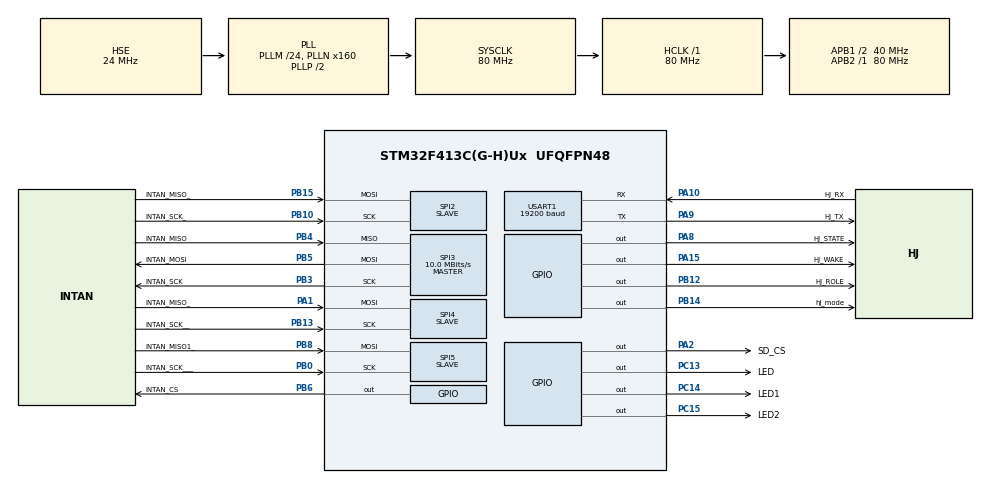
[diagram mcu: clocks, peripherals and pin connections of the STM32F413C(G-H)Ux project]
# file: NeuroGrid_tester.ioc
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Dma.Request0=SPI3_RX
Dma.Request1=TIM4_UP
Dma.Request2=TIM1_UP
Dma.Request3=TIM4_CH3
Dma.Request4=TIM4_CH2
Dma.SPI3_RX.0.Direction=DMA_PERIPH_TO_MEMORY
Dma.SPI3_RX.0.FIFOMode=DMA_FIFOMODE_DISABLE
Dma.SPI3_RX.0.Instance=DMA1_Stream0
Dma.SPI3_RX.0.MemDataAlignment=DMA_MDATAALIGN_HALFWORD
Dma.SPI3_RX.0.MemInc=DMA_MINC_ENABLE
Dma.SPI3_RX.0.Mode=DMA_CIRCULAR
Dma.SPI3_RX.0.PeriphDataAlignment=DMA_PDATAALIGN_HALFWORD
Dma.SPI3_RX.0.PeriphInc=DMA_PINC_DISABLE
Dma.SPI3_RX.0.Priority=DMA_PRIORITY_HIGH
Dma.TIM1_UP.2.Direction=DMA_MEMORY_TO_PERIPH
Dma.TIM1_UP.2.FIFOMode=DMA_FIFOMODE_ENABLE
Dma.TIM1_UP.2.FIFOThreshold=DMA_FIFO_THRESHOLD_1QUARTERFULL
Dma.TIM1_UP.2.Instance=DMA2_Stream5
Dma.TIM1_UP.2.MemBurst=DMA_MBURST_SINGLE
Dma.TIM1_UP.2.MemDataAlignment=DMA_MDATAALIGN_WORD
Dma.TIM1_UP.2.MemInc=DMA_MINC_ENABLE
Dma.TIM1_UP.2.Mode=DMA_NORMAL
Dma.TIM1_UP.2.PeriphBurst=DMA_PBURST_SINGLE
Dma.TIM1_UP.2.PeriphDataAlignment=DMA_PDATAALIGN_BYTE
Dma.TIM1_UP.2.PeriphInc=DMA_PINC_DISABLE
Dma.TIM1_UP.2.Priority=DMA_PRIORITY_VERY_HIGH
Dma.TIM4_CH2.4.Direction=DMA_PERIPH_TO_MEMORY
Dma.TIM4_CH2.4.FIFOMode=DMA_FIFOMODE_DISABLE
Dma.TIM4_CH2.4.Instance=DMA1_Stream3
Dma.TIM4_CH2.4.MemDataAlignment=DMA_MDATAALIGN_HALFWORD
Dma.TIM4_CH2.4.MemInc=DMA_MINC_ENABLE
Dma.TIM4_CH2.4.Mode=DMA_NORMAL
Dma.TIM4_CH2.4.PeriphDataAlignment=DMA_PDATAALIGN_HALFWORD
Dma.TIM4_CH2.4.PeriphInc=DMA_PINC_DISABLE
Dma.TIM4_CH2.4.Priority=DMA_PRIORITY_LOW
Dma.TIM4_CH3.3.Direction=DMA_MEMORY_TO_PERIPH
Dma.TIM4_CH3.3.FIFOMode=DMA_FIFOMODE_ENABLE
Dma.TIM4_CH3.3.FIFOThreshold=DMA_FIFO_THRESHOLD_HALFFULL
Dma.TIM4_CH3.3.Instance=DMA1_Stream7
Dma.TIM4_CH3.3.MemBurst=DMA_MBURST_SINGLE
Dma.TIM4_CH3.3.MemDataAlignment=DMA_MDATAALIGN_WORD
Dma.TIM4_CH3.3.MemInc=DMA_MINC_ENABLE
Dma.TIM4_CH3.3.Mode=DMA_CIRCULAR
Dma.TIM4_CH3.3.PeriphBurst=DMA_PBURST_SINGLE
Dma.TIM4_CH3.3.PeriphDataAlignment=DMA_PDATAALIGN_HALFWORD
Dma.TIM4_CH3.3.PeriphInc=DMA_PINC_DISABLE
Dma.TIM4_CH3.3.Priority=DMA_PRIORITY_VERY_HIGH
Dma.TIM4_UP.1.Direction=DMA_MEMORY_TO_PERIPH
Dma.TIM4_UP.1.FIFOMode=DMA_FIFOMODE_ENABLE
Dma.TIM4_UP.1.FIFOThreshold=DMA_FIFO_THRESHOLD_HALFFULL
Dma.TIM4_UP.1.Instance=DMA1_Stream6
Dma.TIM4_UP.1.MemBurst=DMA_MBURST_SINGLE
Dma.TIM4_UP.1.MemDataAlignment=DMA_MDATAALIGN_WORD
Dma.TIM4_UP.1.MemInc=DMA_MINC_ENABLE
Dma.TIM4_UP.1.Mode=DMA_CIRCULAR
Dma.TIM4_UP.1.PeriphBurst=DMA_PBURST_SINGLE
Dma.TIM4_UP.1.PeriphDataAlignment=DMA_PDATAALIGN_HALFWORD
Dma.TIM4_UP.1.PeriphInc=DMA_PINC_DISABLE
Dma.TIM4_UP.1.Priority=DMA_PRIORITY_VERY_HIGH
Mcu.Family=STM32F4
Mcu.Name=STM32F413C(G-H)Ux
Mcu.Package=UFQFPN48
NVIC.DMA1_Stream0_IRQn=true\:4\:0\:true\:false\:true\:false\:false
NVIC.DMA1_Stream3_IRQn=true\:0\:0\:false\:false\:true\:false\:false
NVIC.DMA1_Stream6_IRQn=true\:6\:0\:true\:false\:true\:false\:false
NVIC.DMA1_Stream7_IRQn=true\:0\:0\:false\:false\:true\:false\:false
NVIC.DMA2_Stream5_IRQn=true\:6\:0\:true\:false\:true\:false\:false
NVIC.PriorityGroup=NVIC_PRIORITYGROUP_4
NVIC.TIM1_TRG_COM_TIM11_IRQn=true\:3\:0\:true\:false\:true\:true\:false
NVIC.TIM1_UP_TIM10_IRQn=true\:2\:0\:true\:false\:true\:true\:false
NVIC.TIM3_IRQn=true\:0\:0\:false\:false\:true\:true\:false
NVIC.TIM4_IRQn=true\:1\:0\:true\:false\:true\:true\:false
NVIC.TIM8_TRG_COM_TIM14_IRQn=true\:0\:0\:false\:false\:true\:true\:false
PA1.GPIO_Label=INTAN_MISO_
PA1.Mode=RX_Only_Simplex_Unidirect_Slave
PA1.Signal=SPI4_MOSI
PA10.GPIO_Label=HJ_RX
PA10.Mode=Asynchronous
PA10.Signal=USART1_RX
PA13.Mode=Serial_Wire
PA13.Signal=SYS_JTMS-SWDIO
PA14.Mode=Serial_Wire
PA14.Signal=SYS_JTCK-SWCLK
PA15.GPIO_Label=HJ_WAKE
PA15.Signal=GPIO_Output
PA2.GPIO_Label=SD_CS
PA2.GPIO_PuPd=GPIO_PULLUP
PA2.GPIO_Speed=GPIO_SPEED_FREQ_VERY_HIGH
PA2.Signal=GPIO_Output
PA4.GPIO_Label=DAC1
PA4.Signal=COMP_DAC1_group
PA8.GPIO_Label=HJ_STATE
PA8.Signal=GPIO_Output
PA9.GPIO_Label=HJ_TX
PA9.Mode=Asynchronous
PA9.Signal=USART1_TX
PB0.GPIO_Label=INTAN_SCK___
PB0.Mode=RX_Only_Simplex_Unidirect_Slave
PB0.Signal=SPI5_SCK
PB10.GPIO_Label=INTAN_SCK_
PB10.Mode=RX_Only_Simplex_Unidirect_Slave
PB10.Signal=SPI2_SCK
PB12.GPIO_Label=HJ_ROLE
PB12.Signal=GPIO_Output
PB13.GPIO_Label=INTAN_SCK__
PB13.Mode=RX_Only_Simplex_Unidirect_Slave
PB13.Signal=SPI4_SCK
PB14.GPIO_Label=hj_mode
PB14.Signal=GPIO_Output
PB15.GPIO_Label=INTAN_MISO_
PB15.Mode=RX_Only_Simplex_Unidirect_Slave
PB15.Signal=SPI2_MOSI
PB3.GPIO_Label=INTAN_SCK
PB3.GPIO_Mode=GPIO_MODE_AF_PP
PB3.GPIO_PuPd=GPIO_NOPULL
PB3.GPIO_Speed=GPIO_SPEED_FREQ_HIGH
PB3.Mode=Full_Duplex_Master
PB3.Signal=SPI3_SCK
PB4.GPIO_Label=INTAN_MISO
PB4.GPIO_Mode=GPIO_MODE_AF_PP
PB4.GPIO_PuPd=GPIO_NOPULL
PB4.GPIO_Speed=GPIO_SPEED_FREQ_HIGH
PB4.Mode=Full_Duplex_Master
PB4.Signal=SPI3_MISO
PB5.GPIO_Label=INTAN_MOSI
PB5.GPIO_Mode=GPIO_MODE_AF_PP
PB5.GPIO_PuPd=GPIO_NOPULL
PB5.GPIO_Speed=GPIO_SPEED_FREQ_HIGH
PB5.Mode=Full_Duplex_Master
PB5.Signal=SPI3_MOSI
PB6.GPIO_Label=INTAN_CS
PB6.Signal=GPIO_Output
PB8.GPIO_Label=INTAN_MISO1_
PB8.Mode=RX_Only_Simplex_Unidirect_Slave
PB8.Signal=SPI5_MOSI
PC13.GPIO_Label=LED
PC13.GPIO_ModeDefaultOutputPP=GPIO_MODE_OUTPUT_PP
PC13.GPIO_PuPd=GPIO_NOPULL
PC13.GPIO_Speed=GPIO_SPEED_FREQ_LOW
PC13.PinState=GPIO_PIN_RESET
PC13.Signal=GPIO_Output
PC14-OSC32_IN.GPIO_Label=LED1
PC14-OSC32_IN.Signal=GPIO_Output
PC15-OSC32_OUT.GPIO_Label=LED2
PC15-OSC32_OUT.Signal=GPIO_Output
PH0\ -\ OSC_IN.Mode=HSE-External-Oscillator
PH0\ -\ OSC_IN.Signal=RCC_OSC_IN
PH1\ -\ OSC_OUT.Mode=HSE-External-Oscillator
PH1\ -\ OSC_OUT.Signal=RCC_OSC_OUT
ProjectManager.HeapSize=0x400
ProjectManager.StackSize=0x400
ProjectManager.TargetToolchain=MDK-ARM V5
RCC.48MHZClocksFreq_Value=48000000
RCC.AHBFreq_Value=80000000
RCC.APB1CLKDivider=RCC_HCLK_DIV2
RCC.APB1Freq_Value=40000000
RCC.APB1TimFreq_Value=80000000
RCC.APB2Freq_Value=80000000
RCC.APB2TimFreq_Value=80000000
RCC.CortexFreq_Value=80000000
RCC.HCLKFreq_Value=80000000
RCC.HSE_VALUE=24000000
RCC.HSI_VALUE=16000000
RCC.LSE_VALUE=32768
RCC.PLLM=24
RCC.PLLN=160
RCC.PLLQ=4
RCC.PLLSourceVirtual=RCC_PLLSOURCE_HSE
RCC.PREFETCH_ENABLE=0
RCC.SYSCLKFreq_VALUE=80000000
RCC.SYSCLKSource=RCC_SYSCLKSOURCE_PLLCLK
RCC.USBFreq_Value=40000000
RCC.VCOOutputFreq_Value=160000000
RCC.VDD_VALUE=3
SH.COMP_DAC1_group.0=DAC_OUT1
SPI2.CLKPhase=SPI_PHASE_2EDGE
SPI2.DataSize=SPI_DATASIZE_16BIT
SPI2.Direction=SPI_DIRECTION_2LINES_RXONLY
SPI2.Mode=SPI_MODE_SLAVE
SPI2.VirtualType=VM_SLAVE
SPI3.BaudRatePrescaler=SPI_BAUDRATEPRESCALER_4
SPI3.CLKPhase=SPI_PHASE_1EDGE
SPI3.CLKPolarity=SPI_POLARITY_LOW
SPI3.CalculateBaudRate=10.0 MBits/s
SPI3.DataSize=SPI_DATASIZE_16BIT
SPI3.Direction=SPI_DIRECTION_2LINES
SPI3.Mode=SPI_MODE_MASTER
SPI3.VirtualType=VM_MASTER
SPI4.CLKPhase=SPI_PHASE_1EDGE
SPI4.CLKPolarity=SPI_POLARITY_LOW
SPI4.DataSize=SPI_DATASIZE_16BIT
SPI4.Direction=SPI_DIRECTION_2LINES_RXONLY
SPI4.Mode=SPI_MODE_SLAVE
SPI4.VirtualType=VM_SLAVE
SPI5.CLKPhase=SPI_PHASE_2EDGE
SPI5.DataSize=SPI_DATASIZE_16BIT
SPI5.Direction=SPI_DIRECTION_2LINES_RXONLY
SPI5.Mode=SPI_MODE_SLAVE
SPI5.VirtualType=VM_SLAVE
TIM1.Period=20
TIM1.RepetitionCounter=0
TIM1.TIM_MasterOutputTrigger=TIM_TRGO_UPDATE
TIM1.TIM_MasterSlaveMode=TIM_MASTERSLAVEMODE_ENABLE
TIM14.AutoReloadPreload=TIM_AUTORELOAD_PRELOAD_ENABLE
TIM14.Period=3999
TIM3.Channel-PWM\ Generation1\ No\ Output=TIM_CHANNEL_1
TIM3.OCMode_PWM-PWM\ Generation1\ No\ Output=TIM_OCMODE_PWM2
TIM3.OCPolarity_1=TIM_OCPOLARITY_HIGH
TIM3.Period=4799
TIM3.Prescaler=2000
TIM3.Pulse-PWM\ Generation1\ No\ Output=1000
TIM3.TIM_MasterOutputTrigger=TIM_TRGO_OC1REF
TIM3.TIM_MasterSlaveMode=TIM_MASTERSLAVEMODE_ENABLE
TIM4.Channel-PWM\ Generation2\ No\ Output=TIM_CHANNEL_2
TIM4.Channel-PWM\ Generation3\ No\ Output=TIM_CHANNEL_3
TIM4.OCMode_PWM-PWM\ Generation2\ No\ Output=TIM_OCMODE_PWM2
TIM4.OCMode_PWM-PWM\ Generation3\ No\ Output=TIM_OCMODE_PWM2
TIM4.OCPolarity_2=TIM_OCPOLARITY_LOW
TIM4.OCPolarity_3=TIM_OCPOLARITY_LOW
TIM4.Period=149
TIM4.Pulse-PWM\ Generation2\ No\ Output=80
TIM4.Pulse-PWM\ Generation3\ No\ Output=8
TIM4.TIM_MasterOutputTrigger=TIM_TRGO_OC2REF
TIM4.TIM_MasterSlaveMode=TIM_MASTERSLAVEMODE_ENABLE
USART1.BaudRate=19200
USART1.VirtualMode=VM_ASYNC
VP_TIM14_VS_ClockSourceINT.Mode=Enable_Timer
VP_TIM1_VS_ClockSourceITR.Mode=TriggerSource_ITR2
VP_TIM1_VS_ControllerModeGated.Mode=Gated Mode
VP_TIM3_VS_no_output1.Mode=PWM Generation1 No Output
VP_TIM4_VS_no_output2.Mode=PWM Generation2 No Output
VP_TIM4_VS_no_output3.Mode=PWM Generation3 No Output
board=custom

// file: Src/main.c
/* USER CODE BEGIN Header */
/**
  ******************************************************************************
  * @file           : main.c
  * @brief          : Main program body
  ******************************************************************************
  * @attention
  *
  * <h2><center>&copy; Copyright (c) 2019 STMicroelectronics.
  * All rights reserved.</center></h2>
  *
  * This software component is licensed by ST under BSD 3-Clause license,
  * the "License"; You may not use this file except in compliance with the
  * License. You may obtain a copy of the License at:
  *                        opensource.org/licenses/BSD-3-Clause
  *
  ******************************************************************************
  */
/* USER CODE END Header */

#include "main.h"

/* USER CODE BEGIN Includes */
#include "dataMGR.h"
#include "HD32_intan_driver.h"
#include <math.h>

/* USER CODE END Includes */

/* USER CODE BEGIN PTD */
#define PI 3.1415926
#define VAL 2.0* PI
#define TEST_CYC 50;
int Step=0;
int test_cyc;
float SinVoltage;
uint32_t ch;
uint32_t DAC_on;
/* USER CODE END PTD */

SPI_HandleTypeDef hspi2;
SPI_HandleTypeDef hspi3;
SPI_HandleTypeDef hspi4;
SPI_HandleTypeDef hspi5;
DMA_HandleTypeDef hdma_spi3_rx;

TIM_HandleTypeDef htim1;
TIM_HandleTypeDef htim3;
TIM_HandleTypeDef htim4;
TIM_HandleTypeDef htim14;
DMA_HandleTypeDef hdma_tim1_up;
DMA_HandleTypeDef hdma_tim4_up;
DMA_HandleTypeDef hdma_tim4_ch3;
DMA_HandleTypeDef hdma_tim4_ch2;

UART_HandleTypeDef huart1;

/* USER CODE BEGIN PV */
IntanParams IntanInfo_1;
float dataBuf[100];
float dataBuf1[100];
float   impedance[128];
int channel_imp_flag[MAX_CHANNEL_NUMBER];
int counter_1_64 = 0;
int counter_65_128 = 0;
int channels_1_ready;
int channels_2_ready;
uint16_t DAC_cmd[100];
int num_sine_values;

// data buffer for UART_RX
uint8_t* bleBuf;
uint8_t temp_UART_TX;
uint8_t temp_UART_DR;
int bt_cmd_size;

/* USER CODE END PV */

void SystemClock_Config(void);
static void MX_GPIO_Init(void);
static void MX_DMA_Init(void);
static void MX_SPI3_Init(void);
static void MX_TIM4_Init(void);
static void MX_TIM1_Init(void);
static void MX_TIM3_Init(void);
static void MX_USART1_UART_Init(void);
static void MX_SPI2_Init(void);
static void MX_SPI4_Init(void);
static void MX_SPI5_Init(void);
static void MX_TIM14_Init(void);

int main(void)
{

  /* MCU Configuration--------------------------------------------------------*/

  /* Reset of all peripherals, Initializes the Flash interface and the Systick. */
  HAL_Init();

  /* Configure the system clock */
  SystemClock_Config();

  /* Initialize all configured peripherals */
  MX_GPIO_Init();
  MX_DMA_Init();
  MX_SPI3_Init();
  MX_TIM4_Init();
  MX_TIM1_Init();
  MX_TIM3_Init();
  MX_USART1_UART_Init();
  MX_SPI2_Init();
  MX_SPI4_Init();
  MX_SPI5_Init();
  MX_TIM14_Init();
  /* USER CODE BEGIN 2 */
	SPI2->CR1|=SPI_CR1_SPE; //Enable SPI2
	SPI3->CR1|=SPI_CR1_SPE; //Enable SPI3
	SPI4->CR1|=SPI_CR1_SPE; //Enable SPI4
	SPI5->CR1|=SPI_CR1_SPE; //Enable SPI5

	// BLE START
	// Set HJ_ROLE to VDD, making the BlueTooth module a slave device
	HAL_GPIO_WritePin(HJ_ROLE_GPIO_Port, HJ_ROLE_Pin, VDD_VALUE);

	// Set HJ_MODE TO GND, entering configuration mode for the BlueTooth module
	HAL_GPIO_WritePin(hj_mode_GPIO_Port, hj_mode_Pin, 0);

	// Send <BAUD38400>, and read
	char *bt_cmd;
	bt_cmd = "<BAUD38400>";
	uint8_t* bt_cmd_int = (uint8_t*) bt_cmd;
	uint16_t bt_cmd_size = 12;
	uint32_t bt_cmd_timeout = 4;
	HAL_UART_Transmit(&huart1, bt_cmd_int, bt_cmd_size, bt_cmd_timeout);
	HAL_UART_Receive(&huart1, bleBuf, bt_cmd_size, bt_cmd_timeout);

	// Send <COMBAUD>, and read
	bt_cmd = "<COMBAUD>";
	bt_cmd_int = (uint8_t*) bt_cmd;
	bt_cmd_size = 12;
	bt_cmd_timeout = 4;
	HAL_UART_Transmit(&huart1, bt_cmd_int, bt_cmd_size, bt_cmd_timeout);

	// Send <BAUD19200>, and read
	bt_cmd = "<BAUD19200>";
	bt_cmd_int = (uint8_t*) bt_cmd;
	bt_cmd_size = 12;
	bt_cmd_timeout = 4;
	HAL_UART_Transmit(&huart1, bt_cmd_int, bt_cmd_size, bt_cmd_timeout);

	// Send <COMBAUD>, and read
	bt_cmd = "<COMBAUD>";
	bt_cmd_int = (uint8_t*) bt_cmd;
	bt_cmd_size = 12;
	bt_cmd_timeout = 4;
	HAL_UART_Transmit(&huart1, bt_cmd_int, bt_cmd_size, bt_cmd_timeout);

	// Set HJ_MODE TO VDD, setting it to data transmission mode
	HAL_GPIO_WritePin(hj_mode_GPIO_Port, hj_mode_Pin, VDD_VALUE);
	// BLE END

	// When power up, all LEDs turn on for 1 second
	HAL_GPIO_WritePin(LED_GPIO_Port,LED_Pin,GPIO_PIN_SET);
	HAL_GPIO_WritePin(LED1_GPIO_Port,LED1_Pin,GPIO_PIN_SET);
	HAL_GPIO_WritePin(LED2_GPIO_Port,LED2_Pin,GPIO_PIN_SET);
	HAL_Delay(1000);
	HAL_GPIO_WritePin(LED_GPIO_Port,LED_Pin,GPIO_PIN_RESET);
	HAL_GPIO_WritePin(LED1_GPIO_Port,LED1_Pin,GPIO_PIN_RESET);
	HAL_GPIO_WritePin(LED2_GPIO_Port,LED2_Pin,GPIO_PIN_RESET);
	//

	// Initialize channel flags to zero
	channels_1_ready = 0;
	channels_2_ready = 0;
	for(int i=0; i<MAX_CHANNEL_NUMBER; i++){
		channel_imp_flag[i] = 0;
	}
	//

	// Compute sine wave points and other logical values; then store values in databuffers
	int sine_frequency = 1e3;
	num_sine_values = STEP_FS / sine_frequency;
	for(int i=0; i<num_sine_values; i++){
		DAC_cmd[i] = ((0x80|0x06)<<8)|(uint16_t)((0.5+sin(2.0*PI*((float)i/(float)num_sine_values))/2.0)*255);
	}
	//

	//Initialize Intan recording module, connected to SPI3
	HD32_intan_init(&hspi3,INTAN_CS_GPIO_Port,INTAN_CS_Pin,20000,&IntanInfo_1);	//Intan setup and info read
	HD32_intan_calibration(&hspi3,INTAN_CS_GPIO_Port,INTAN_CS_Pin);
	HD32_intan_writeReg(&hspi3,INTAN_CS_GPIO_Port,INTAN_CS_Pin,5,0x49);// Enable impedance testing mode
	//TIM14->CR1|=TIM_CR1_ARPE|TIM_CR1_CEN;// ENable timer  auto-reload and start tick timer

	HAL_GPIO_WritePin(INTAN_CS_GPIO_Port,INTAN_CS_Pin,GPIO_PIN_RESET);//Set CS low
	ch=0;
	test_cyc=100;
	SPI3->DR=((0x80|0x07)<<8)|ch;
	SPI_WAIT_TILL_SENT(SPI3);
	HAL_GPIO_WritePin(INTAN_CS_GPIO_Port,INTAN_CS_Pin,GPIO_PIN_SET);//Set CS high

	DAC_on=1;
	//ch=40;

	TIM14->ARR = (SYSTEM_FS / STEP_FS)-1;
	HAL_TIM_Base_Start_IT(&htim14);
	HAL_GPIO_WritePin(LED_GPIO_Port,LED_Pin,GPIO_PIN_SET);
	//

  /* USER CODE END 2 */

  /* Infinite loop */
  /* USER CODE BEGIN WHILE */
  while (1)
  {
		// check sets of electrodes according to channel_imp_flag
		counter_1_64 = 0;
		counter_65_128 = 0;
		for(int i=0; i<64; i++){
			counter_1_64 += channel_imp_flag[i];
			counter_65_128 += channel_imp_flag[i+64];
		}
		if (counter_1_64 > 15)
		{
			channels_1_ready = 1;
			HAL_GPIO_WritePin(LED1_GPIO_Port,LED1_Pin,GPIO_PIN_SET);
		}
		else
		{
			channels_1_ready = 0;
			HAL_GPIO_WritePin(LED1_GPIO_Port,LED1_Pin,GPIO_PIN_RESET);
		}
		if (counter_65_128 > 15)
		{
			channels_2_ready = 1;
			HAL_GPIO_WritePin(LED2_GPIO_Port,LED2_Pin,GPIO_PIN_SET);

		}
		else
		{
			channels_2_ready = 0;
			HAL_GPIO_WritePin(LED2_GPIO_Port,LED2_Pin,GPIO_PIN_RESET);
		}

    /* USER CODE END WHILE */

    /* USER CODE BEGIN 3 */

		// REAL CODE: USE ONE TRANSMIT COMMAND TO SEND ALL 128 IMPDANCE RESULTS
		if (ch == 1){
			uint8_t test_data[MAX_CHANNEL_NUMBER+4];
			for(int i=2; i<MAX_CHANNEL_NUMBER+2; i++)
			{
				float temp = impedance[i];
				uint8_t test_send = 0xaa;
				test_data[i] = (uint8_t) temp;
			}
			test_data[0] = 0xaa;
			test_data[1] = 0x55;
			test_data[MAX_CHANNEL_NUMBER+2] = 0xad;
			test_data[MAX_CHANNEL_NUMBER+3] = 0Xda;
			uint8_t* test_data_pointer = (uint8_t *) test_data;
			uint16_t Size = 132;
			uint32_t Timeout = 1000;
			HAL_UART_Transmit(&huart1, test_data_pointer, Size, Timeout);

			// Recheck Intan connection
			HD32_intan_init(&hspi3,INTAN_CS_GPIO_Port,INTAN_CS_Pin,20000,&IntanInfo_1);	//Intan setup and info read
			HD32_intan_calibration(&hspi3,INTAN_CS_GPIO_Port,INTAN_CS_Pin);
			HD32_intan_writeReg(&hspi3,INTAN_CS_GPIO_Port,INTAN_CS_Pin,5,0x49);// Enable impedance testing mode
	}

  }
  /* USER CODE END 3 */
}

void SystemClock_Config(void)
{
  RCC_OscInitTypeDef RCC_OscInitStruct = {0};
  RCC_ClkInitTypeDef RCC_ClkInitStruct = {0};

  /** Configure the main internal regulator output voltage
  */
  __HAL_RCC_PWR_CLK_ENABLE();
  __HAL_PWR_VOLTAGESCALING_CONFIG(PWR_REGULATOR_VOLTAGE_SCALE1);
  /** Initializes the CPU, AHB and APB busses clocks
  */
  RCC_OscInitStruct.OscillatorType = RCC_OSCILLATORTYPE_HSE;
  RCC_OscInitStruct.HSEState = RCC_HSE_ON;
  RCC_OscInitStruct.PLL.PLLState = RCC_PLL_ON;
  RCC_OscInitStruct.PLL.PLLSource = RCC_PLLSOURCE_HSE;
  RCC_OscInitStruct.PLL.PLLM = 24;
  RCC_OscInitStruct.PLL.PLLN = 160;
  RCC_OscInitStruct.PLL.PLLP = RCC_PLLP_DIV2;
  RCC_OscInitStruct.PLL.PLLQ = 4;
  RCC_OscInitStruct.PLL.PLLR = 2;
  if (HAL_RCC_OscConfig(&RCC_OscInitStruct) != HAL_OK)
  {
    Error_Handler();
  }
  /** Initializes the CPU, AHB and APB busses clocks
  */
  RCC_ClkInitStruct.ClockType = RCC_CLOCKTYPE_HCLK|RCC_CLOCKTYPE_SYSCLK
                              |RCC_CLOCKTYPE_PCLK1|RCC_CLOCKTYPE_PCLK2;
  RCC_ClkInitStruct.SYSCLKSource = RCC_SYSCLKSOURCE_PLLCLK;
  RCC_ClkInitStruct.AHBCLKDivider = RCC_SYSCLK_DIV1;
  RCC_ClkInitStruct.APB1CLKDivider = RCC_HCLK_DIV2;
  RCC_ClkInitStruct.APB2CLKDivider = RCC_HCLK_DIV1;

  if (HAL_RCC_ClockConfig(&RCC_ClkInitStruct, FLASH_LATENCY_3) != HAL_OK)
  {
    Error_Handler();
  }
}

static void MX_SPI2_Init(void)
{

  /* SPI2 parameter configuration*/
  hspi2.Instance = SPI2;
  hspi2.Init.Mode = SPI_MODE_SLAVE;
  hspi2.Init.Direction = SPI_DIRECTION_2LINES_RXONLY;
  hspi2.Init.DataSize = SPI_DATASIZE_16BIT;
  hspi2.Init.CLKPolarity = SPI_POLARITY_LOW;
  hspi2.Init.CLKPhase = SPI_PHASE_2EDGE;
  hspi2.Init.NSS = SPI_NSS_SOFT;
  hspi2.Init.FirstBit = SPI_FIRSTBIT_MSB;
  hspi2.Init.TIMode = SPI_TIMODE_DISABLE;
  hspi2.Init.CRCCalculation = SPI_CRCCALCULATION_DISABLE;
  hspi2.Init.CRCPolynomial = 10;
  if (HAL_SPI_Init(&hspi2) != HAL_OK)
  {
    Error_Handler();
  }

}

static void MX_SPI3_Init(void)
{

  /* SPI3 parameter configuration*/
  hspi3.Instance = SPI3;
  hspi3.Init.Mode = SPI_MODE_MASTER;
  hspi3.Init.Direction = SPI_DIRECTION_2LINES;
  hspi3.Init.DataSize = SPI_DATASIZE_16BIT;
  hspi3.Init.CLKPolarity = SPI_POLARITY_LOW;
  hspi3.Init.CLKPhase = SPI_PHASE_1EDGE;
  hspi3.Init.NSS = SPI_NSS_SOFT;
  hspi3.Init.BaudRatePrescaler = SPI_BAUDRATEPRESCALER_8;
  hspi3.Init.FirstBit = SPI_FIRSTBIT_MSB;
  hspi3.Init.TIMode = SPI_TIMODE_DISABLE;
  hspi3.Init.CRCCalculation = SPI_CRCCALCULATION_DISABLE;
  hspi3.Init.CRCPolynomial = 10;
  if (HAL_SPI_Init(&hspi3) != HAL_OK)
  {
    Error_Handler();
  }

}

static void MX_SPI4_Init(void)
{

  /* SPI4 parameter configuration*/
  hspi4.Instance = SPI4;
  hspi4.Init.Mode = SPI_MODE_SLAVE;
  hspi4.Init.Direction = SPI_DIRECTION_2LINES_RXONLY;
  hspi4.Init.DataSize = SPI_DATASIZE_16BIT;
  hspi4.Init.CLKPolarity = SPI_POLARITY_LOW;
  hspi4.Init.CLKPhase = SPI_PHASE_1EDGE;
  hspi4.Init.NSS = SPI_NSS_SOFT;
  hspi4.Init.FirstBit = SPI_FIRSTBIT_MSB;
  hspi4.Init.TIMode = SPI_TIMODE_DISABLE;
  hspi4.Init.CRCCalculation = SPI_CRCCALCULATION_DISABLE;
  hspi4.Init.CRCPolynomial = 10;
  if (HAL_SPI_Init(&hspi4) != HAL_OK)
  {
    Error_Handler();
  }

}

static void MX_SPI5_Init(void)
{

  /* SPI5 parameter configuration*/
  hspi5.Instance = SPI5;
  hspi5.Init.Mode = SPI_MODE_SLAVE;
  hspi5.Init.Direction = SPI_DIRECTION_2LINES_RXONLY;
  hspi5.Init.DataSize = SPI_DATASIZE_16BIT;
  hspi5.Init.CLKPolarity = SPI_POLARITY_LOW;
  hspi5.Init.CLKPhase = SPI_PHASE_2EDGE;
  hspi5.Init.NSS = SPI_NSS_SOFT;
  hspi5.Init.FirstBit = SPI_FIRSTBIT_MSB;
  hspi5.Init.TIMode = SPI_TIMODE_DISABLE;
  hspi5.Init.CRCCalculation = SPI_CRCCALCULATION_DISABLE;
  hspi5.Init.CRCPolynomial = 10;
  if (HAL_SPI_Init(&hspi5) != HAL_OK)
  {
    Error_Handler();
  }

}

static void MX_TIM1_Init(void)
{

  TIM_SlaveConfigTypeDef sSlaveConfig = {0};
  TIM_MasterConfigTypeDef sMasterConfig = {0};

  htim1.Instance = TIM1;
  htim1.Init.Prescaler = 0;
  htim1.Init.CounterMode = TIM_COUNTERMODE_UP;
  htim1.Init.Period = 20;
  htim1.Init.ClockDivision = TIM_CLOCKDIVISION_DIV1;
  htim1.Init.RepetitionCounter = 0;
  htim1.Init.AutoReloadPreload = TIM_AUTORELOAD_PRELOAD_DISABLE;
  if (HAL_TIM_Base_Init(&htim1) != HAL_OK)
  {
    Error_Handler();
  }
  sSlaveConfig.SlaveMode = TIM_SLAVEMODE_GATED;
  sSlaveConfig.InputTrigger = TIM_TS_ITR2;
  if (HAL_TIM_SlaveConfigSynchro(&htim1, &sSlaveConfig) != HAL_OK)
  {
    Error_Handler();
  }
  sMasterConfig.MasterOutputTrigger = TIM_TRGO_UPDATE;
  sMasterConfig.MasterSlaveMode = TIM_MASTERSLAVEMODE_ENABLE;
  if (HAL_TIMEx_MasterConfigSynchronization(&htim1, &sMasterConfig) != HAL_OK)
  {
    Error_Handler();
  }

}

static void MX_TIM3_Init(void)
{

  TIM_MasterConfigTypeDef sMasterConfig = {0};
  TIM_OC_InitTypeDef sConfigOC = {0};

  htim3.Instance = TIM3;
  htim3.Init.Prescaler = 2000;
  htim3.Init.CounterMode = TIM_COUNTERMODE_UP;
  htim3.Init.Period = 4799;
  htim3.Init.ClockDivision = TIM_CLOCKDIVISION_DIV1;
  htim3.Init.AutoReloadPreload = TIM_AUTORELOAD_PRELOAD_DISABLE;
  if (HAL_TIM_PWM_Init(&htim3) != HAL_OK)
  {
    Error_Handler();
  }
  sMasterConfig.MasterOutputTrigger = TIM_TRGO_OC1REF;
  sMasterConfig.MasterSlaveMode = TIM_MASTERSLAVEMODE_ENABLE;
  if (HAL_TIMEx_MasterConfigSynchronization(&htim3, &sMasterConfig) != HAL_OK)
  {
    Error_Handler();
  }
  sConfigOC.OCMode = TIM_OCMODE_PWM2;
  sConfigOC.Pulse = 1000;
  sConfigOC.OCPolarity = TIM_OCPOLARITY_HIGH;
  sConfigOC.OCFastMode = TIM_OCFAST_DISABLE;
  if (HAL_TIM_PWM_ConfigChannel(&htim3, &sConfigOC, TIM_CHANNEL_1) != HAL_OK)
  {
    Error_Handler();
  }

}

static void MX_TIM4_Init(void)
{

  TIM_MasterConfigTypeDef sMasterConfig = {0};
  TIM_OC_InitTypeDef sConfigOC = {0};

  htim4.Instance = TIM4;
  htim4.Init.Prescaler = 0;
  htim4.Init.CounterMode = TIM_COUNTERMODE_UP;
  htim4.Init.Period = 149;
  htim4.Init.ClockDivision = TIM_CLOCKDIVISION_DIV1;
  htim4.Init.AutoReloadPreload = TIM_AUTORELOAD_PRELOAD_DISABLE;
  if (HAL_TIM_PWM_Init(&htim4) != HAL_OK)
  {
    Error_Handler();
  }
  sMasterConfig.MasterOutputTrigger = TIM_TRGO_OC2REF;
  sMasterConfig.MasterSlaveMode = TIM_MASTERSLAVEMODE_ENABLE;
  if (HAL_TIMEx_MasterConfigSynchronization(&htim4, &sMasterConfig) != HAL_OK)
  {
    Error_Handler();
  }
  sConfigOC.OCMode = TIM_OCMODE_PWM2;
  sConfigOC.Pulse = 80;
  sConfigOC.OCPolarity = TIM_OCPOLARITY_LOW;
  sConfigOC.OCFastMode = TIM_OCFAST_DISABLE;
  if (HAL_TIM_PWM_ConfigChannel(&htim4, &sConfigOC, TIM_CHANNEL_2) != HAL_OK)
  {
    Error_Handler();
  }
  sConfigOC.Pulse = 8;
  if (HAL_TIM_PWM_ConfigChannel(&htim4, &sConfigOC, TIM_CHANNEL_3) != HAL_OK)
  {
    Error_Handler();
  }

}

static void MX_TIM14_Init(void)
{

  htim14.Instance = TIM14;
  htim14.Init.Prescaler = 0;
  htim14.Init.CounterMode = TIM_COUNTERMODE_UP;
  htim14.Init.Period = 999;
  htim14.Init.ClockDivision = TIM_CLOCKDIVISION_DIV1;
  htim14.Init.AutoReloadPreload = TIM_AUTORELOAD_PRELOAD_ENABLE;
  if (HAL_TIM_Base_Init(&htim14) != HAL_OK)
  {
    Error_Handler();
  }

}

static void MX_USART1_UART_Init(void)
{

  huart1.Instance = USART1;
  huart1.Init.BaudRate = 19200;
  huart1.Init.WordLength = UART_WORDLENGTH_8B;
  huart1.Init.StopBits = UART_STOPBITS_1;
  huart1.Init.Parity = UART_PARITY_NONE;
  huart1.Init.Mode = UART_MODE_TX_RX;
  huart1.Init.HwFlowCtl = UART_HWCONTROL_NONE;
  huart1.Init.OverSampling = UART_OVERSAMPLING_16;
  if (HAL_UART_Init(&huart1) != HAL_OK)
  {
    Error_Handler();
  }

}

static void MX_DMA_Init(void)
{
  /* DMA controller clock enable */
  __HAL_RCC_DMA1_CLK_ENABLE();
  __HAL_RCC_DMA2_CLK_ENABLE();

  /* DMA interrupt init */
  /* DMA1_Stream0_IRQn interrupt configuration */
  HAL_NVIC_SetPriority(DMA1_Stream0_IRQn, 4, 0);
  HAL_NVIC_EnableIRQ(DMA1_Stream0_IRQn);
  /* DMA1_Stream3_IRQn interrupt configuration */
  HAL_NVIC_SetPriority(DMA1_Stream3_IRQn, 0, 0);
  HAL_NVIC_EnableIRQ(DMA1_Stream3_IRQn);
  /* DMA1_Stream6_IRQn interrupt configuration */
  HAL_NVIC_SetPriority(DMA1_Stream6_IRQn, 6, 0);
  HAL_NVIC_EnableIRQ(DMA1_Stream6_IRQn);
  /* DMA1_Stream7_IRQn interrupt configuration */
  HAL_NVIC_SetPriority(DMA1_Stream7_IRQn, 0, 0);
  HAL_NVIC_EnableIRQ(DMA1_Stream7_IRQn);
  /* DMA2_Stream5_IRQn interrupt configuration */
  HAL_NVIC_SetPriority(DMA2_Stream5_IRQn, 6, 0);
  HAL_NVIC_EnableIRQ(DMA2_Stream5_IRQn);

}

static void MX_GPIO_Init(void)
{
  GPIO_InitTypeDef GPIO_InitStruct = {0};

  /* GPIO Ports Clock Enable */
  __HAL_RCC_GPIOC_CLK_ENABLE();
  __HAL_RCC_GPIOH_CLK_ENABLE();
  __HAL_RCC_GPIOA_CLK_ENABLE();
  __HAL_RCC_GPIOB_CLK_ENABLE();

  /*Configure GPIO pin Output Level */
  HAL_GPIO_WritePin(GPIOC, LED_Pin|LED1_Pin|LED2_Pin, GPIO_PIN_RESET);

  /*Configure GPIO pin Output Level */
  HAL_GPIO_WritePin(GPIOA, SD_CS_Pin|HJ_STATE_Pin|HJ_WAKE_Pin, GPIO_PIN_RESET);

  /*Configure GPIO pin Output Level */
  HAL_GPIO_WritePin(GPIOB, HJ_ROLE_Pin|hj_mode_Pin|INTAN_CS_Pin, GPIO_PIN_RESET);

  /*Configure GPIO pins : LED_Pin LED1_Pin LED2_Pin */
  GPIO_InitStruct.Pin = LED_Pin|LED1_Pin|LED2_Pin;
  GPIO_InitStruct.Mode = GPIO_MODE_OUTPUT_PP;
  GPIO_InitStruct.Pull = GPIO_NOPULL;
  GPIO_InitStruct.Speed = GPIO_SPEED_FREQ_LOW;
  HAL_GPIO_Init(GPIOC, &GPIO_InitStruct);

  /*Configure GPIO pin : SD_CS_Pin */
  GPIO_InitStruct.Pin = SD_CS_Pin;
  GPIO_InitStruct.Mode = GPIO_MODE_OUTPUT_PP;
  GPIO_InitStruct.Pull = GPIO_PULLUP;
  GPIO_InitStruct.Speed = GPIO_SPEED_FREQ_VERY_HIGH;
  HAL_GPIO_Init(SD_CS_GPIO_Port, &GPIO_InitStruct);

  /*Configure GPIO pin : DAC1_Pin */
  GPIO_InitStruct.Pin = DAC1_Pin;
  GPIO_InitStruct.Mode = GPIO_MODE_ANALOG;
  GPIO_InitStruct.Pull = GPIO_NOPULL;
  HAL_GPIO_Init(DAC1_GPIO_Port, &GPIO_InitStruct);

  /*Configure GPIO pins : HJ_ROLE_Pin hj_mode_Pin INTAN_CS_Pin */
  GPIO_InitStruct.Pin = HJ_ROLE_Pin|hj_mode_Pin|INTAN_CS_Pin;
  GPIO_InitStruct.Mode = GPIO_MODE_OUTPUT_PP;
  GPIO_InitStruct.Pull = GPIO_NOPULL;
  GPIO_InitStruct.Speed = GPIO_SPEED_FREQ_LOW;
  HAL_GPIO_Init(GPIOB, &GPIO_InitStruct);

  /*Configure GPIO pins : HJ_STATE_Pin HJ_WAKE_Pin */
  GPIO_InitStruct.Pin = HJ_STATE_Pin|HJ_WAKE_Pin;
  GPIO_InitStruct.Mode = GPIO_MODE_OUTPUT_PP;
  GPIO_InitStruct.Pull = GPIO_NOPULL;
  GPIO_InitStruct.Speed = GPIO_SPEED_FREQ_LOW;
  HAL_GPIO_Init(GPIOA, &GPIO_InitStruct);

}

void Error_Handler(void)
{
}

/************************ (C) COPYRIGHT STMicroelectronics *****END OF FILE****/
